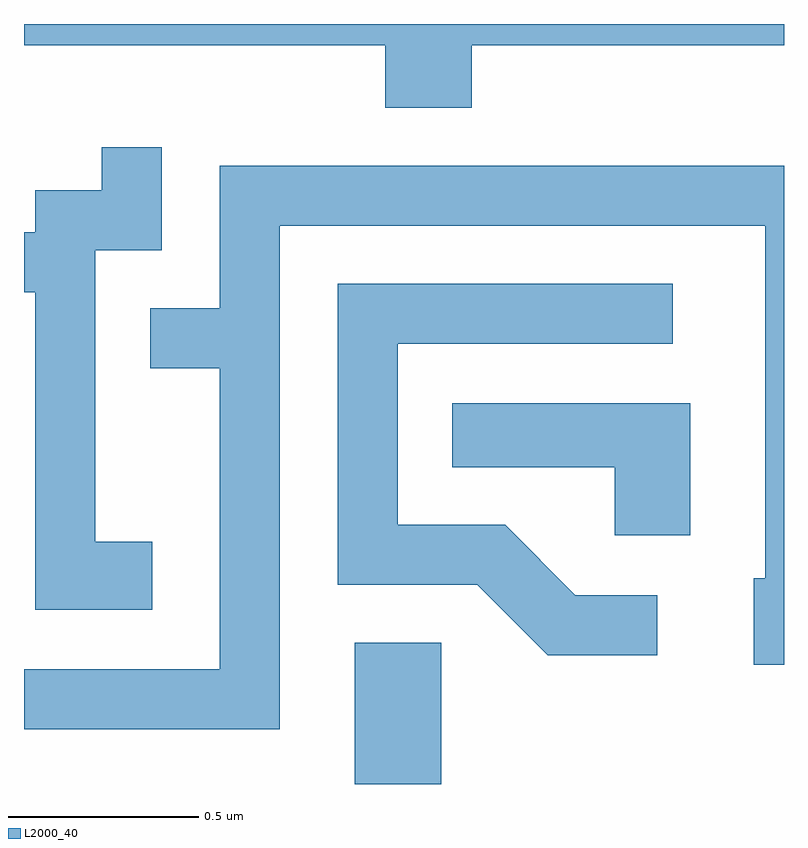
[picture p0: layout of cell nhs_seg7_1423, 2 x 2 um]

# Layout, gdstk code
import gdstk
lib = gdstk.Library(unit=1e-6, precision=1e-09)
def R(c, l, rs):  # rectangles x0, y0, x1, y1
    for r in rs: c.add(gdstk.rectangle(r[:2], r[2:], *l))
def P(c, l, *ps):  # polygons
    for p in ps: c.add(gdstk.Polygon(p, *l))
L2000_40 = (2000, 40)

nhs_seg7_1423 = lib.new_cell('nhs_seg7_1423')
R(nhs_seg7_1423, L2000_40, [(196.481,1721.252,196.709,1721.624)])
P(nhs_seg7_1423, L2000_40, [(196.789,1723.196),(197.611,1723.196),(197.611,1723.252),(195.611,1723.252),(195.611,1723.196),(196.561,1723.196),(196.561,1723.031),(196.789,1723.031)],
  [(195.949,1721.889),(195.799,1721.889),(195.799,1722.656),(195.974,1722.656),(195.974,1722.928),(195.816,1722.928),(195.816,1722.814),(195.641,1722.814),(195.641,1722.704),(195.611,1722.704),(195.611,1722.546),(195.641,1722.546),(195.641,1721.711),(195.949,1721.711)],
  [(196.284,1722.721),(197.561,1722.721),(197.561,1721.794),(197.531,1721.794),(197.531,1721.566),(197.611,1721.566),(197.611,1722.879),(196.126,1722.879),(196.126,1722.504),(195.943,1722.504),(195.943,1722.346),(196.126,1722.346),(196.126,1721.554),(195.611,1721.554),(195.611,1721.396),(196.284,1721.396)],
  [(197.278,1721.749),(197.062,1721.749),(196.877,1721.934),(196.594,1721.934),(196.594,1722.411),(197.318,1722.411),(197.318,1722.569),(196.436,1722.569),(196.436,1721.776),(196.804,1721.776),(196.989,1721.591),(197.278,1721.591)],
  [(197.364,1722.254),(196.738,1722.254),(196.738,1722.086),(197.166,1722.086),(197.166,1721.906),(197.364,1721.906)])

lib.write_gds('nhs_seg7_1423.gds')
